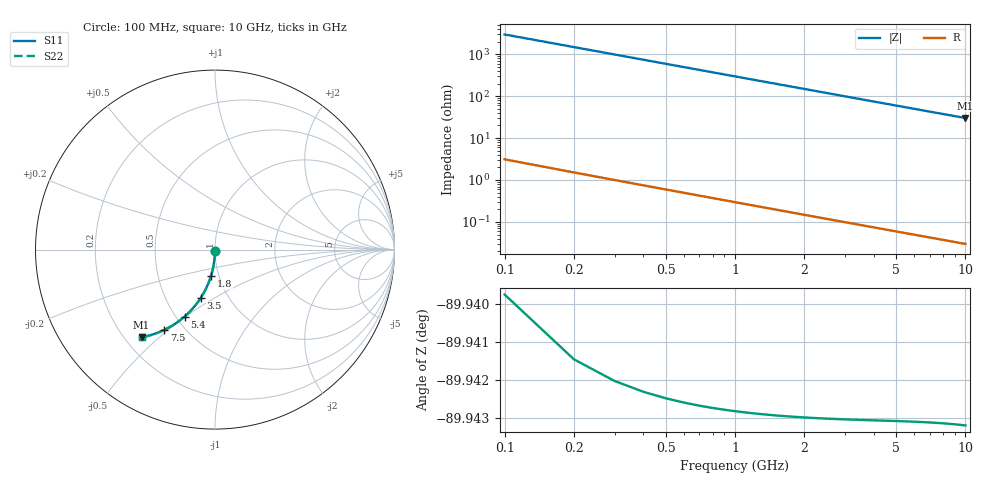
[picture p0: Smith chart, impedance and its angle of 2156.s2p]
# Hz S RI R 50.00
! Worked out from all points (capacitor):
!   100 points, 100 MHz to 10 GHz, reference 50 ohm
!   read as one part in shunt: C = 537 fF near 100 MHz
!   lowest |Z| = 30.1 ohm at 10 GHz (marker M1)
!   S11 on the Smith chart (normalised r, x): 100 MHz: 1.00, -0.02; 1.8 GHz: 0.92, -0.28; 3.5 GHz: 0.74, -0.43; 5.4 GHz: 0.55, -0.50; 7.5 GHz: 0.39, -0.49; 10 GHz: 0.27, -0.44
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1e8  -7.47e-05 -0.0084  0.9999 -0.00846  0.9999 -0.00846  -7.47e-05 -0.0084
2e8  -0.000296 -0.0168  0.9997 -0.0169  0.9997 -0.0169  -0.000296 -0.0168
3e8  -0.00066 -0.0252  0.9993 -0.0254  0.9993 -0.0254  -0.00066 -0.0252
4e8  -0.00116 -0.0336  0.9988 -0.0338  0.9988 -0.0338  -0.00116 -0.0336
5e8  -0.00181 -0.0419  0.9982 -0.0422  0.9982 -0.0422  -0.00181 -0.0419
6e8  -0.0026 -0.0503  0.9974 -0.0506  0.9974 -0.0506  -0.0026 -0.0503
8e8  -0.00459 -0.0669  0.9954 -0.0674  0.9954 -0.0674  -0.00459 -0.0669
1.1e9  -0.0086 -0.0915  0.9914 -0.0922  0.9914 -0.0922  -0.0086 -0.0915
1.4e9  -0.0138 -0.1158  0.9862 -0.1167  0.9862 -0.1167  -0.0138 -0.1158
1.8e9  -0.0226 -0.1475  0.9774 -0.1486  0.9774 -0.1486  -0.0226 -0.1475
2.1e9  -0.0304 -0.1706  0.9696 -0.1719  0.9696 -0.1719  -0.0304 -0.1706
2.5e9  -0.0425 -0.2004  0.9575 -0.2019  0.9575 -0.2019  -0.0425 -0.2004
2.9e9  -0.0562 -0.229  0.9438 -0.2307  0.9438 -0.2307  -0.0562 -0.229
3.4e9  -0.0755 -0.2627  0.9245 -0.2648  0.9245 -0.2648  -0.0755 -0.2627
3.5e9  -0.0796 -0.2692  0.9203 -0.2713  0.9203 -0.2713  -0.0796 -0.2692
4.3e9  -0.1152 -0.3175  0.8848 -0.3201  0.8848 -0.3201  -0.1152 -0.3175
5.1e9  -0.1544 -0.3593  0.8456 -0.3624  0.8456 -0.3624  -0.1544 -0.3593
5.4e9  -0.1698 -0.3733  0.8302 -0.3766  0.8302 -0.3766  -0.1698 -0.3733
6.7e9  -0.2387 -0.4237  0.7613 -0.4278  0.7613 -0.4278  -0.2387 -0.4237
7.5e9  -0.2816 -0.447  0.7184 -0.4516  0.7184 -0.4516  -0.2816 -0.447
8.4e9  -0.3292 -0.4668  0.6708 -0.472  0.6708 -0.472  -0.3292 -0.4668
1e10  -0.4094 -0.4881  0.5906 -0.4943  0.5906 -0.4943  -0.4094 -0.4881
